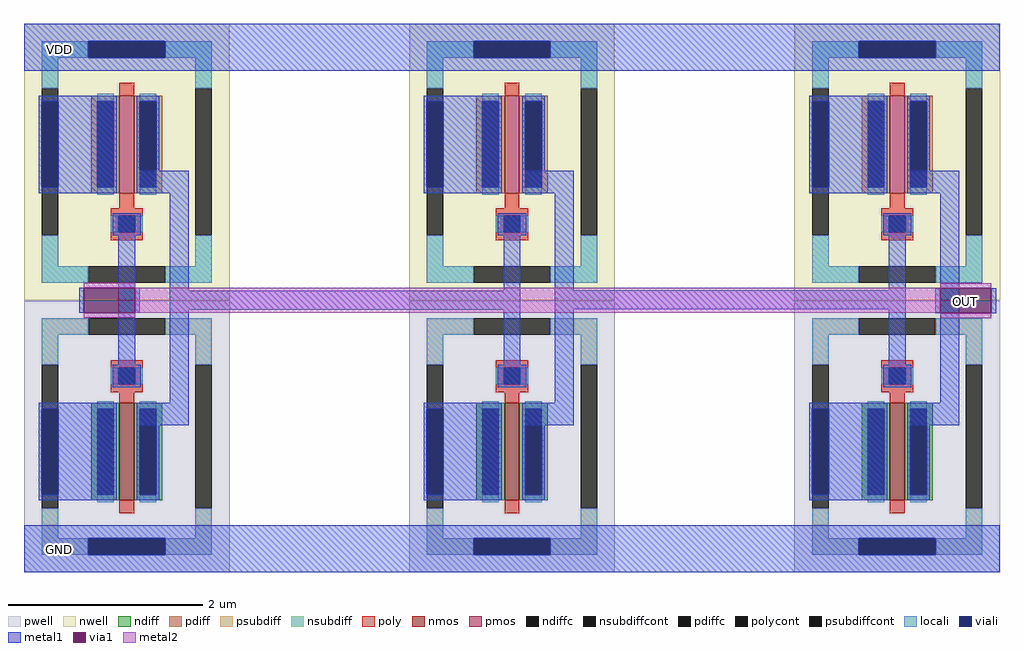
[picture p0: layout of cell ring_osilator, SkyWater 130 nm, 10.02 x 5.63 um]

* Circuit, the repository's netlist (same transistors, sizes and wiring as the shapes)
** sch_path: /home/mreza/mag/Inverter_RingOsc/ring_osilator.sch
.subckt ring_osilator VDD OUT GND
*.PININFO VDD:I OUT:O GND:I
x4 VDD net2 OUT GND inverter
x1 VDD OUT net1 GND inverter
x2 VDD net1 net2 GND inverter
.ends

* expanding   symbol:  inverter.sym # of pins=4
** sym_path: /home/mreza/mag/Inverter_RingOsc/inverter.sym
** sch_path: /home/mreza/mag/Inverter_RingOsc/inverter.sch
.subckt inverter VDD IN OUT GND
*.PININFO GND:I IN:I VDD:I OUT:O
XM1 OUT IN GND GND sky130_fd_pr__nfet_01v8 L=0.15 W=1 nf=1 m=1
XM2 OUT IN VDD VDD sky130_fd_pr__pfet_01v8 L=0.15 W=1 nf=1 m=1
.ends

.end

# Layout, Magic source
magic
tech sky130A
magscale 1 2
<< viali >>
rect 395 1163 553 1197
rect 1186 1163 1344 1197
rect 1977 1163 2135 1197
rect 395 142 553 176
rect 1186 142 1344 176
rect 1977 142 2135 176
<< metal1 >>
rect 263 1197 2266 1233
rect 263 1163 395 1197
rect 553 1163 1186 1197
rect 1344 1163 1977 1197
rect 2135 1163 2266 1197
rect 263 1136 2266 1163
rect 376 639 386 691
rect 491 639 501 691
rect 562 645 1282 684
rect 1353 646 2073 685
rect 2134 638 2144 690
rect 2249 638 2259 690
rect 263 176 2266 203
rect 263 142 395 176
rect 553 142 1186 176
rect 1344 142 1977 176
rect 2135 142 2266 176
rect 263 106 2266 142
<< via1 >>
rect 386 639 491 691
rect 2144 638 2249 690
<< metal2 >>
rect 386 691 491 701
rect 2144 691 2249 700
rect 491 690 2249 691
rect 491 639 2144 690
rect 386 629 491 639
rect 2144 628 2249 638
use inverter  x1
transform 1 0 53 0 1 2350
box 210 -2244 632 -1117
use inverter  x2
transform 1 0 844 0 1 2350
box 210 -2244 632 -1117
use inverter  x3
transform 1 0 1635 0 1 2350
box 210 -2244 632 -1117
<< labels >>
flabel metal1 336 1179 336 1179 0 FreeSans 320 0 0 0 VDD
port 1 nsew
flabel metal1 335 153 335 153 0 FreeSans 320 0 0 0 GND
port 2 nsew
flabel via1 2197 663 2197 663 0 FreeSans 320 0 0 0 OUT
port 4 nsew
<< end >>

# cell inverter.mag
magic
tech sky130A
magscale 1 2
<< viali >>
rect 246 -1453 280 -1277
rect 246 -2084 280 -1908
<< metal1 >>
rect 240 -1277 399 -1265
rect 240 -1453 246 -1277
rect 280 -1453 399 -1277
rect 240 -1465 399 -1453
rect 442 -1465 548 -1419
rect 404 -1858 438 -1512
rect 509 -1896 548 -1465
rect 240 -1908 400 -1896
rect 240 -2084 246 -1908
rect 280 -2084 400 -1908
rect 442 -1942 548 -1896
rect 240 -2096 400 -2084
use sky130_fd_pr__nfet_01v8_64Z3AY  XM1
transform 1 0 421 0 1 -1965
box -211 -279 211 279
use sky130_fd_pr__pfet_01v8_LGS3BL  XM2
transform 1 0 421 0 1 -1401
box -211 -284 211 284
<< labels >>
flabel metal1 301 -1403 346 -1367 0 FreeSans 160 0 0 0 VDD
port 1 nsew
flabel metal1 293 -2018 338 -1982 0 FreeSans 160 0 0 0 GND
port 3 nsew
flabel metal1 422 -1684 422 -1684 0 FreeSans 160 0 0 0 IN
port 5 nsew
flabel metal1 530 -1684 530 -1684 0 FreeSans 160 0 0 0 OUT
port 7 nsew
<< end >>

# cell sky130_fd_pr__nfet_01v8_64Z3AY: kit device sky130_fd_pr__nfet_01v8, w 1.0 l 0.15 m 1 nf 1 diffcov 100 polycov 100 guard 1 glc 1 grc 1 gtc 1 gbc 1 tbcov 100 rlcov 100 topc 1 botc 0 poverlap 0 doverlap 1 lmin 0.15 wmin 0.42 compatible {sky130_fd_pr__nfet_01v8 sky130_fd_pr__nfet_01v8_lvt sky130_fd_bs_flash__special_sonosfet_star sky130_fd_pr__nfet_g5v0d10v5 sky130_fd_pr__nfet_05v0_nvt sky130_fd_pr__nfet_03v3_nvt} full_metal 1 viasrc 100 viadrn 100 viagate 100 viagb 0 viagr 0 viagl 0 viagt 0

# cell sky130_fd_pr__pfet_01v8_LGS3BL: kit device sky130_fd_pr__pfet_01v8, w 1.0 l 0.15 m 1 nf 1 diffcov 100 polycov 100 guard 1 glc 1 grc 1 gtc 1 gbc 1 tbcov 100 rlcov 100 topc 0 botc 1 poverlap 0 doverlap 1 lmin 0.15 wmin 0.42 compatible {sky130_fd_pr__pfet_01v8 sky130_fd_pr__pfet_01v8_lvt sky130_fd_pr__pfet_01v8_hvt sky130_fd_pr__pfet_g5v0d10v5} full_metal 1 viasrc 100 viadrn 100 viagate 100 viagb 0 viagr 0 viagl 0 viagt 0
